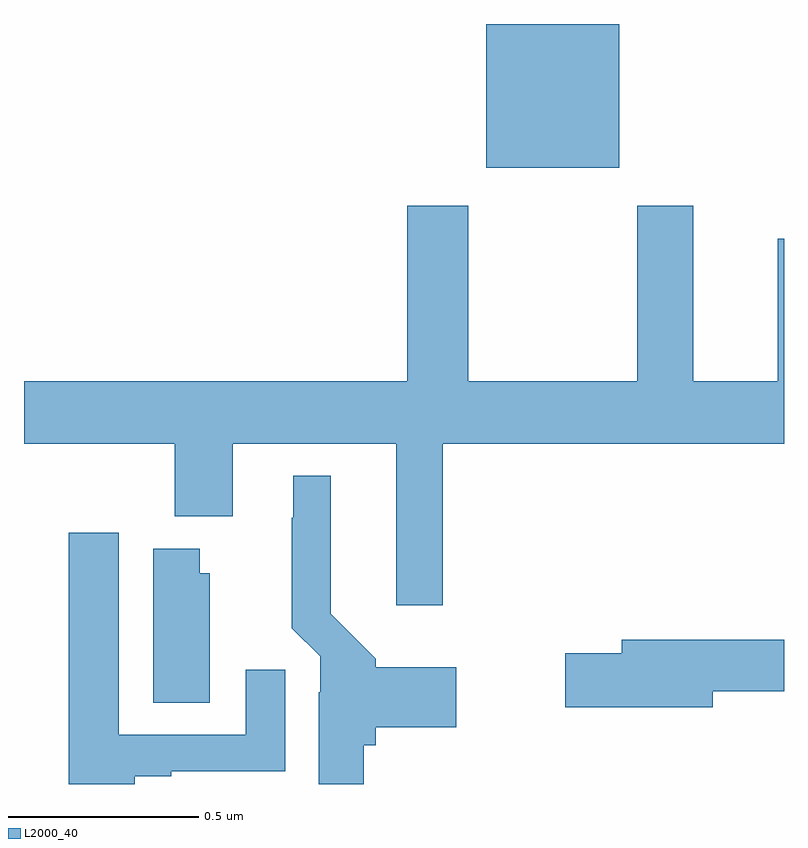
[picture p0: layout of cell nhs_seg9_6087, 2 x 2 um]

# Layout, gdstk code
import gdstk
lib = gdstk.Library(unit=1e-6, precision=1e-09)
def R(c, l, rs):  # rectangles x0, y0, x1, y1
    for r in rs: c.add(gdstk.rectangle(r[:2], r[2:], *l))
def P(c, l, *ps):  # polygons
    for p in ps: c.add(gdstk.Polygon(p, *l))
L2000_40 = (2000, 40)

nhs_seg9_6087 = lib.new_cell('nhs_seg9_6087')
R(nhs_seg9_6087, L2000_40, [(188.216,1221.122,188.566,1221.5)])
P(nhs_seg9_6087, L2000_40, [(188.102,1220.396),(189,1220.396),(189,1220.935),(188.984,1220.935),(188.984,1220.56),(188.761,1220.56),(188.761,1221.022),(188.614,1221.022),(188.614,1220.56),(188.169,1220.56),(188.169,1221.022),(188.009,1221.022),(188.009,1220.56),(187,1220.56),(187,1220.396),(187.397,1220.396),(187.397,1220.204),(187.549,1220.204),(187.549,1220.396),(187.979,1220.396),(187.979,1219.971),(188.102,1219.971)],
  [(187.894,1219.602),(187.925,1219.602),(187.925,1219.649),(188.137,1219.649),(188.137,1219.807),(187.925,1219.807),(187.925,1219.83),(187.807,1219.948),(187.807,1220.311),(187.709,1220.311),(187.709,1220.201),(187.705,1220.201),(187.705,1219.91),(187.779,1219.836),(187.779,1219.742),(187.775,1219.742),(187.775,1219.5),(187.894,1219.5)],
  [(187.291,1219.521),(187.387,1219.521),(187.387,1219.533),(187.687,1219.533),(187.687,1219.801),(187.583,1219.801),(187.583,1219.629),(187.249,1219.629),(187.249,1220.161),(187.118,1220.161),(187.118,1219.5),(187.291,1219.5)],
  [(187.489,1220.055),(187.462,1220.055),(187.462,1220.119),(187.34,1220.119),(187.34,1219.714),(187.489,1219.714)],
  [(188.812,1219.744),(189,1219.744),(189,1219.88),(188.573,1219.88),(188.573,1219.844),(188.424,1219.844),(188.424,1219.702),(188.812,1219.702)])

lib.write_gds('nhs_seg9_6087.gds')
